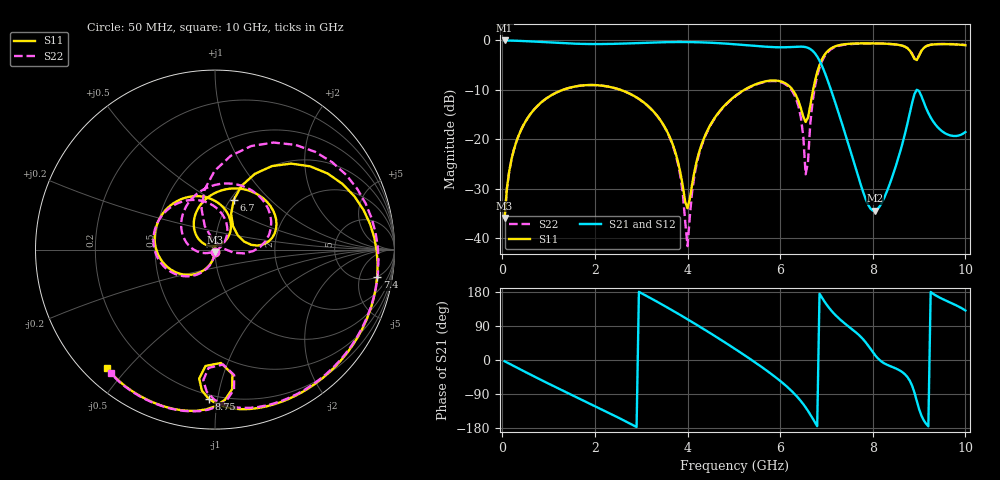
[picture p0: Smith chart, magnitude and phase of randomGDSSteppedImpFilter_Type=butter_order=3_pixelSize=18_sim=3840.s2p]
! freq	dB(S11)	phase(S11)	dB(S12)	phase(S12)
!  dB(S21)	phase(S21)	dB(S22)	phase(S22)
!S-par simulation data
#  GHz  S  DB  R 50
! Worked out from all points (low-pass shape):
!   200 points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, 50 MHz to 10 GHz, reference 50 ohm
!   highest |S21| = -0.01 dB at 50 MHz (marker M1); lowest = -34.5 dB at 8.05 GHz (marker M2)
!   |S21| within 3 dB of the highest: start of sweep to 6.781 GHz
!   lowest |S11| = -35.9 dB at 50 MHz (marker M3), VSWR 1.03, Z = 49.9 - j1.6 ohm
!   |S11| at or under -10 dB: start of sweep to 1.308 GHz; 2.552 GHz to 5.226 GHz (2.674 GHz wide, 68.8 % of centre); 6.268 GHz to 6.712 GHz (444.5 MHz wide, 6.85 % of centre)
!   |S22| runs from -41.6 to -0.6 dB; largest |S21 - S12| = 0
!   S11 on the Smith chart (normalised r, x): 50 MHz: 1.00, -0.03; 6.7 GHz: 1.04, +0.63; 7.4 GHz: 5, -9; 8.75 GHz: 0.17, -0.94; 10 GHz: 0.07, -0.44
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0.05  -35.91 -92.8  -0.01 -3.2  -0.01 -3.2  -35.91 -92.6
0.2  -24.02 -103.4  -0.04 -12.8  -0.04 -12.8  -24.02 -102.6
0.5  -16.42 -123.2  -0.15 -31.7  -0.15 -31.7  -16.42 -121.2
1.75  -9.09 158.9  -0.71 -106.9  -0.71 -106.9  -9.09 166.2
2.65  -10.35 103.5  -0.63 -161.1  -0.63 -161.1  -10.36 114.2
3.4  -15.95 56.1  -0.39 149.9  -0.39 149.9  -16.00 66.0
3.8  -24.81 40.2  -0.32 121.9  -0.32 121.9  -25.25 34.3
4  -33.96 99.1  -0.33 107.4  -0.33 107.4  -41.64 -65.6
4.3  -21.17 150.5  -0.39 85.3  -0.39 85.3  -21.42 -169.6
5.05  -11.09 102.6  -0.80 27.3  -0.80 27.3  -11.18 128.8
5.65  -8.35 57.7  -1.25 -22.7  -1.25 -22.7  -8.44 76.3
6.2  -9.27 15.1  -1.35 -76.2  -1.35 -76.2  -9.55 20.9
6.45  -13.82 7.5  -1.26 -108.8  -1.26 -108.8  -15.74 -7.4
6.55  -16.50 31.7  -1.35 -125.1  -1.35 -125.1  -27.10 9.8
6.7  -10.56 69.4  -2.08 -153.8  -2.08 -153.8  -12.42 108.3
7  -2.41 34.0  -7.41 146.7  -7.41 146.7  -2.67 52.5
7.4  -0.76 -9.6  -18.76 95.9  -18.76 95.9  -0.85 1.0
8.05  -0.60 -52.8  -34.46 12.9  -34.46 12.9  -0.63 -48.1
8.35  -0.70 -69.2  -29.46 -14.8  -29.46 -14.8  -0.71 -66.0
8.75  -1.59 -92.3  -16.76 -45.3  -16.76 -45.3  -1.56 -90.3
8.95  -3.98 -87.0  -9.98 -108.0  -9.98 -108.0  -3.85 -86.0
10  -0.98 -132.2  -18.54 130.6  -18.54 130.6  -0.91 -130.2
